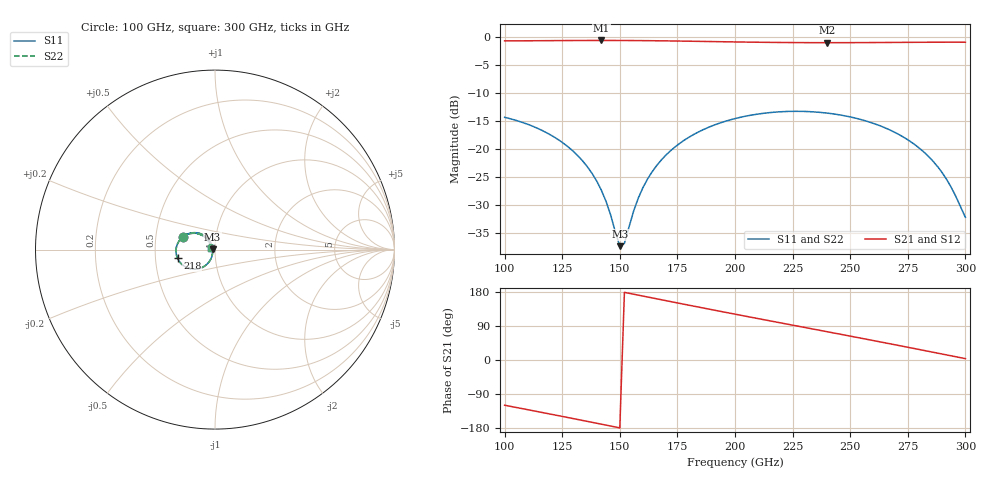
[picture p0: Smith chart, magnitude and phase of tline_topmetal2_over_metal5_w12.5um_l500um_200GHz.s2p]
#  GHZ S DB R 50
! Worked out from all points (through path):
!   101 points, 100 GHz to 300 GHz, reference 50 ohm
!   highest |S21| = -0.54 dB at 142 GHz (marker M1); lowest = -0.9 dB at 240 GHz (marker M2)
!   group delay of S21, straight-line fit = 3.29 ps
!   lowest |S11| = -37.4 dB at 150 GHz (marker M3), VSWR 1.03, Z = 48.7 + j0.239 ohm
!   |S11| at or under -10 dB: start of sweep to end of sweep
!   |S22| runs from -37.3 to -13.3 dB; largest |S21 - S12| = 1.1e-14
!   S11 on the Smith chart (normalised r, x): 100 GHz: 0.69, +0.10; 218 GHz: 0.65, -0.07; 300 GHz: 0.96, +0.02
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100  -14.33 157.7  -0.62 -119.4  -0.62 -119.4  -14.33 157.9
120  -17.50 135.9  -0.58 -142.9  -0.58 -142.9  -17.50 136.2
128  -19.78 128.1  -0.56 -152.5  -0.56 -152.5  -19.78 128.4
134  -22.22 123.3  -0.55 -159.7  -0.55 -159.7  -22.22 123.6
142  -27.41 121.8  -0.54 -169.4  -0.54 -169.4  -27.41 122.3
146  -31.83 129.7  -0.55 -174.2  -0.55 -174.2  -31.80 130.3
150  -37.44 169.5  -0.55 -179.1  -0.55 -179.1  -37.32 170.1
152  -36.94 -153.6  -0.55 178.5  -0.55 178.5  -36.80 -153.6
156  -31.15 -120.7  -0.56 173.6  -0.56 173.6  -31.11 -120.8
160  -26.98 -114.4  -0.57 168.8  -0.57 168.8  -26.96 -114.4
168  -21.99 -116.5  -0.61 159.1  -0.61 159.1  -21.99 -116.4
182  -17.43 -129.0  -0.69 142.2  -0.69 142.2  -17.42 -128.9
200  -14.56 -147.9  -0.81 121.0  -0.81 121.0  -14.56 -147.7
218  -13.38 -167.1  -0.90 100.0  -0.90 100.0  -13.38 -166.9
234  -13.35 175.8  -0.94 81.6  -0.94 81.6  -13.35 176.1
240  -13.58 169.5  -0.94 74.6  -0.94 74.6  -13.58 169.8
254  -14.66 154.9  -0.93 58.4  -0.93 58.4  -14.66 155.2
268  -16.75 141.0  -0.90 41.9  -0.90 41.9  -16.76 141.3
278  -19.22 132.4  -0.88 30.0  -0.88 30.0  -19.23 132.7
286  -22.22 128.0  -0.86 20.5  -0.86 20.5  -22.24 128.1
294  -27.00 131.1  -0.86 10.8  -0.86 10.8  -27.06 131.1
300  -32.27 156.1  -0.86 3.5  -0.86 3.5  -32.44 156.1
